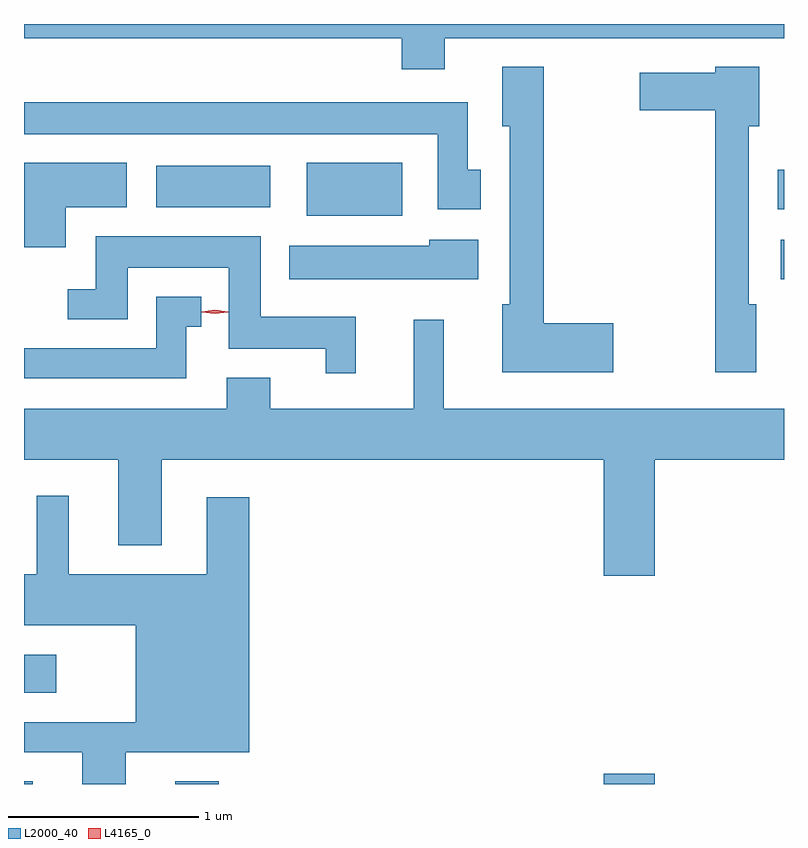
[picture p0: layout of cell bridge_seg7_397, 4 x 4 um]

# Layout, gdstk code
import gdstk
lib = gdstk.Library(unit=1e-6, precision=1e-09)
def R(c, l, rs):  # rectangles x0, y0, x1, y1
    for r in rs: c.add(gdstk.rectangle(r[:2], r[2:], *l))
def P(c, l, *ps):  # polygons
    for p in ps: c.add(gdstk.Polygon(p, *l))
L2000_40 = (2000, 40)
L4165_0 = (4165, 0)

bridge_seg7_397 = lib.new_cell('bridge_seg7_397')
R(bridge_seg7_397, L2000_40, [(1091.144,1712.61,1091.189,1712.624), (1091.941,1712.61,1092.169,1712.624), (1094.196,1712.61,1094.464,1712.664), (1091.144,1713.091,1091.314,1713.289), (1095.126,1715.266,1095.144,1715.474), (1092.631,1715.601,1093.134,1715.879), (1095.111,1715.636,1095.144,1715.844), (1091.841,1715.646,1092.439,1715.864)])
P(bridge_seg7_397, L2000_40, [(1093.359,1716.536),(1095.144,1716.536),(1095.144,1716.61),(1091.144,1716.61),(1091.144,1716.536),(1093.131,1716.536),(1093.131,1716.371),(1093.359,1716.371)],
  [(1094.244,1715.034),(1093.879,1715.034),(1093.879,1716.384),(1093.661,1716.384),(1093.661,1716.071),(1093.701,1716.071),(1093.701,1715.134),(1093.661,1715.134),(1093.661,1714.776),(1094.244,1714.776)],
  [(1094.999,1715.134),(1094.959,1715.134),(1094.959,1716.071),(1095.014,1716.071),(1095.014,1716.384),(1094.781,1716.384),(1094.781,1716.354),(1094.386,1716.354),(1094.386,1716.156),(1094.781,1716.156),(1094.781,1714.776),(1094.999,1714.776)],
  [(1093.549,1715.844),(1093.479,1715.844),(1093.479,1716.199),(1091.144,1716.199),(1091.144,1716.031),(1093.321,1716.031),(1093.321,1715.636),(1093.549,1715.636)],
  [(1091.364,1715.646),(1091.684,1715.646),(1091.684,1715.879),(1091.144,1715.879),(1091.144,1715.436),(1091.364,1715.436)],
  [(1092.889,1715.069),(1092.389,1715.069),(1092.389,1715.494),(1091.521,1715.494),(1091.521,1715.214),(1091.373,1715.214),(1091.373,1715.056),(1091.689,1715.056),(1091.689,1715.326),(1092.221,1715.326),(1092.221,1714.901),(1092.731,1714.901),(1092.731,1714.773),(1092.889,1714.773)],
  [(1093.534,1715.474),(1093.276,1715.474),(1093.276,1715.444),(1092.541,1715.444),(1092.541,1715.266),(1093.534,1715.266)],
  [(1091.999,1715.016),(1092.078,1715.016),(1092.078,1715.174),(1091.841,1715.174),(1091.841,1714.904),(1091.144,1714.904),(1091.144,1714.746),(1091.999,1714.746)],
  [(1094.196,1713.706),(1094.464,1713.706),(1094.464,1714.316),(1095.144,1714.316),(1095.144,1714.584),(1093.354,1714.584),(1093.354,1715.053),(1093.196,1715.053),(1093.196,1714.584),(1092.439,1714.584),(1092.439,1714.749),(1092.211,1714.749),(1092.211,1714.584),(1091.144,1714.584),(1091.144,1714.316),(1091.641,1714.316),(1091.641,1713.866),(1091.869,1713.866),(1091.869,1714.316),(1094.196,1714.316)],
  [(1091.679,1712.776),(1092.329,1712.776),(1092.329,1714.119),(1092.106,1714.119),(1092.106,1713.714),(1091.379,1713.714),(1091.379,1714.128),(1091.211,1714.128),(1091.211,1713.714),(1091.144,1713.714),(1091.144,1713.446),(1091.731,1713.446),(1091.731,1712.934),(1091.144,1712.934),(1091.144,1712.776),(1091.451,1712.776),(1091.451,1712.61),(1091.679,1712.61)])
P(bridge_seg7_397, L4165_0, [(1092.148,1715.085),(1092.079,1715.094),(1092.079,1715.095),(1092.079,1715.096),(1092.148,1715.105),(1092.218,1715.096),(1092.218,1715.095),(1092.218,1715.094)])

lib.write_gds('bridge_seg7_397.gds')
